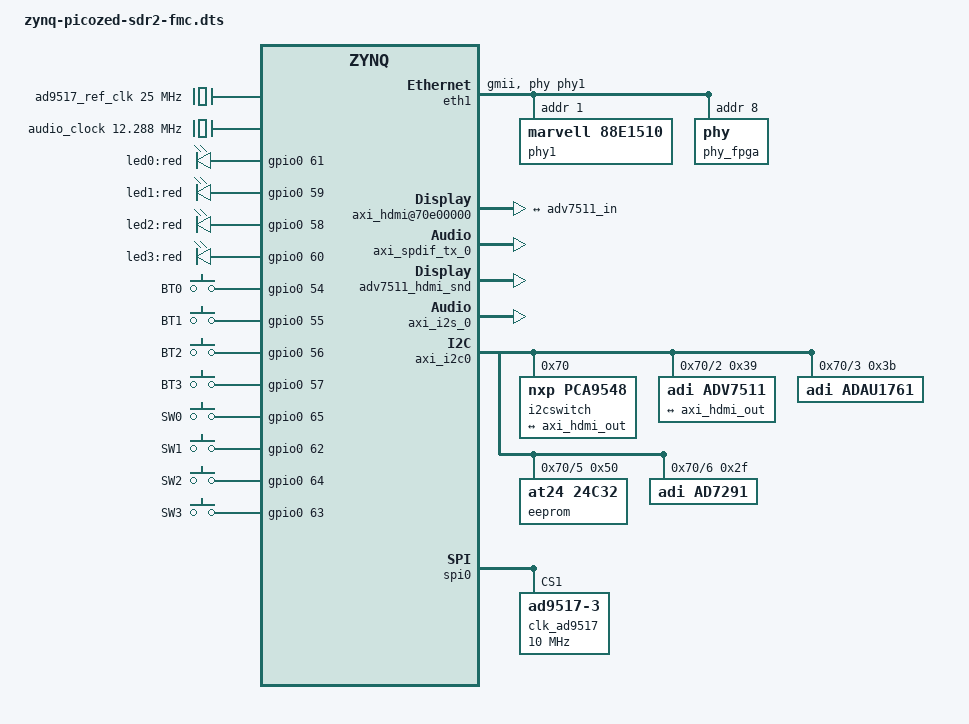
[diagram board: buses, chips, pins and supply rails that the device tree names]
/dts-v1/;
/include/ "zynq-picozed-sdr2.dtsi"

#include <dt-bindings/input/input.h>

/ {
	clocks {
		ad9517_ref_clk: clock@3 {
				#clock-cells = <0>;
				compatible = "fixed-clock";
				clock-frequency = <25000000>;
				clock-output-names = "ad9517_refclk";
		};
	};
};

&axi_i2c0 {

	i2cswitch@74 {
		compatible = "nxp,pca9548";
		#address-cells = <1>;
		#size-cells = <0>;
		reg = <0x70>;

		i2c@0 {
			#address-cells = <1>;
			#size-cells = <0>;
			reg = <0>;
		};

		i2c@1 {
			#address-cells = <1>;
			#size-cells = <0>;
			reg = <1>;
		};
	
		i2c@2 {
			#address-cells = <1>;
			#size-cells = <0>;
			reg = <2>;

			adv7511: adv7511@39 {
				compatible = "adi,adv7511";
				reg = <0x39>;

				adi,input-style = <0x02>;
				adi,input-id = <0x01>;
				adi,input-color-depth = <0x3>;
				adi,sync-pulse = <0x03>;
				adi,bit-justification = <0x02>;
				adi,up-conversion = <0x00>;
				adi,timing-generation-sequence = <0x00>;
				adi,vsync-polarity = <0x02>;
				adi,hsync-polarity = <0x02>;
				adi,tdms-clock-inversion;
				adi,clock-delay = <0x03>;

				ports {
					#address-cells = <1>;
					#size-cells = <0>;

					port@0 {
						reg = <0>;
						adv7511_in: endpoint {
							remote-endpoint = <&axi_hdmi_out>;
						};
					};

					port@1 {
						reg = <1>;
					};
				};
			};
		};

		i2c@3 {
			#address-cells = <1>;
			#size-cells = <0>;
			reg = <3>;

			adau1761: adau1761@3b {
				compatible = "adi,adau1761";
				reg = <0x3b>;
			};
		};

		i2c@4 {
			#address-cells = <1>;
			#size-cells = <0>;
			reg = <4>;
		};

		i2c@5 {
			#address-cells = <1>;
			#size-cells = <0>;
			reg = <5>;
			eeprom@50 {
				compatible = "at24,24c32";
				reg = <0x50>;
			};
		};

		i2c@6 {
			#address-cells = <1>;
			#size-cells = <0>;
			reg = <6>;

			ad7291@2f {
				compatible = "adi,ad7291";
				reg = <0x2f>;
			};
		};

		i2c@7 {
			#address-cells = <1>;
			#size-cells = <0>;
			reg = <7>;
		};
	};
};

/ {
	fpga_axi: fpga-axi@0 {
		compatible = "simple-bus";
		#address-cells = <0x1>;
		#size-cells = <0x1>;
		ranges;

		eth1: eth1@e000c000 {
			compatible = "xlnx,ps7-ethernet-1.00.a";
			reg = <0xe000c000 0x1000>;
			interrupts = <0 45 4>;
			interrupt-parent = <&intc>;
			#address-cells = <0x1>;
			#size-cells = <0x0>;

			clock-names = "ref_clk", "aper_clk";
			clocks = <&clkc 14>, <&clkc 31>;

			xlnx,has-mdio = <0x1>;
			xlnx,ptp-enet-clock = <111111115>;

			phy-handle = <&phy1>;
			gmii2rgmii-phy-handle = <&phy_fpga>;
			phy-mode = "gmii";

			phy1: phy@1 {
				compatible = "marvell,88e1510"; /* Similar to 88e1512 */
				device_type = "ethernet-phy";
				reg = <0x1>;
				marvell,reg-init = <3 16 0xff00 0x1e 3 17 0xfff0 0x00>;
			};

			phy_fpga: phy@8 {
				/* Internal GMII to RGMII adapter PHY */
				device_type = "ethernet-phy";
				reg = <0x8>;
			};
		};

		axi_vdma_0: axivdma@43000000 {
			compatible = "xlnx,axi-vdma-1.00.a";
			#address-cells = <1>;
			#size-cells = <1>;
			#dma-cells = <1>;
			#dma-channels = <1>;
			reg = <0x43000000 0x1000>;
			xlnx,num-fstores = <0x3>;
			dma-channel@43000000 {
				compatible = "xlnx,axi-vdma-mm2s-channel";
				interrupts = <0 59 0x4>;
				xlnx,datawidth = <0x40>;
				xlnx,genlock-mode = <0x0>;
				xlnx,include-dre = <0x0>;
			};
		};

		hdmi_clock: axi-clkgen@79000000 {
			compatible = "adi,axi-clkgen-2.00.a";
			reg = <0x79000000 0x10000>;
			#clock-cells = <0>;
			clocks = <&clkc 16>;
		};

		axi_hdmi@70e00000 {
			compatible = "adi,axi-hdmi-tx-1.00.a";
			reg = <0x70e00000 0x10000>;
			dmas = <&axi_vdma_0 0>;
			dma-names = "video";
			clocks = <&hdmi_clock>;

			port {
				axi_hdmi_out: endpoint {
					remote-endpoint = <&adv7511_in>;
				};
			};
		};

		audio_clock: audio_clock {
			compatible = "fixed-clock";
			#clock-cells = <0>;
			clock-frequency = <12288000>;
		};

		axi_spdif_tx_0: axi-spdif-tx@0x75c00000 {
			compatible = "adi,axi-spdif-tx-1.00.a";
			reg = <0x75c00000 0x1000>;
			dmas = <&dmac_s 0>;
			dma-names = "tx";
			clocks = <&clkc 15>, <&audio_clock>;
			clock-names = "axi", "ref";
		};

		adv7511_hdmi_snd: adv7511_hdmi_snd {
			compatible = "adv7511-hdmi-snd";
			audio-codec = <&adv7511>;
			cpu-dai = <&axi_spdif_tx_0>;
		};

		axi_i2s_0: axi-i2s@0x77600000 {
			compatible = "adi,axi-i2s-1.00.a";
			reg = <0x77600000 0x1000>;
			dmas = <&dmac_s 1 &dmac_s 2>;
			dma-names = "tx", "rx";
			clocks = <&clkc 15>, <&audio_clock>;
			clock-names = "axi", "ref";
		};

		zed_sound: zed_sound {
			compatible = "digilent,zed-sound";
			audio-codec = <&adau1761>;
			cpu-dai = <&axi_i2s_0>;
		};
	};

	leds {
		compatible = "gpio-leds";
		led0 {
			label = "led0:red";
			gpios = <&gpio0 61 0>;
		};

		led1 {
			label = "led1:red";
			gpios = <&gpio0 59 0>;
		};

		led2 {
			label = "led2:red";
			gpios = <&gpio0 58 0>;
		};

		led3 {
			label = "led3:red";
			gpios = <&gpio0 60 0>;
		};
	};

	gpio_keys {
		compatible = "gpio-keys";
		#address-cells = <1>;
		#size-cells = <0>;
		autorepeat;

		bt0 {
			label = "BT0";
			linux,code = <KEY_LEFT>;
			gpios = <&gpio0 54 0>;
		};

		bt1 {
			label = "BT1";
			linux,code = <KEY_RIGHT>;
			gpios = <&gpio0 55 0>;
		};

		bt2 {
			label = "BT2";
			linux,code = <KEY_ENTER>;
			gpios = <&gpio0 56 0>;
		};

		bt3 {
			label = "BT3";
			linux,code = <KEY_ESC>;
			gpios = <&gpio0 57 0>;
		};

		sw0 {
			label = "SW0";
			linux,input-type = <5>;
			linux,code = <0>;
			gpios = <&gpio0 65 0>;
		};

		sw1 {
			label = "SW1";
			linux,input-type = <5>;
			linux,code = <1>;
			gpios = <&gpio0 62 0>;
		};

		sw2 {
			label = "SW2";
			linux,input-type = <5>;
			linux,code = <2>;
			gpios = <&gpio0 64 0>;
		};

		sw3 {
			label = "SW3";
			linux,input-type = <5>;
			linux,code = <3>;
			gpios = <&gpio0 63 0>;
		};
	};

};

&spi0 {
	clk_ad9517: ad9517@1 {
		#address-cells = <1>;
		#size-cells = <0>;
		#clock-cells = <1>;
		compatible = "ad9517-3";
		reg = <1>;
		spi-max-frequency = <10000000>;
		clocks = <&ad9517_ref_clk>, <&ad9517_ref_clk>;
		clock-names = "refclk", "clkin";
		clock-output-names = "out0", "out1", "out2", "out3", "out4", "out5", "out6", "out7";
		firmware = "pzsdr-fmc-ad9517.stp";
	};
};
